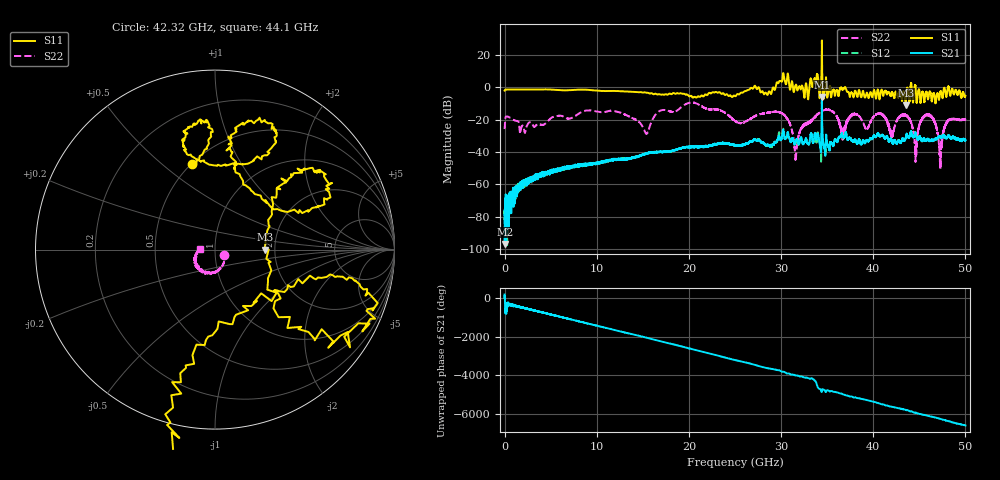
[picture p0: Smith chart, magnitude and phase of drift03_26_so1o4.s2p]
!Created with skrf (http://scikit-rf.org).
# Hz S RI R 50.0
!freq ReS11 ImS11 ReS21 ImS21 ReS12 ImS12 ReS22 ImS22
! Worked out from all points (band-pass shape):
!   10000 points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, 5.3 MHz to 50 GHz, reference 50 ohm
!   highest |S21| = -5.98 dB at 34.43 GHz (marker M1); lowest = -96.9 dB at 90.3 MHz (marker M2)
!   |S21| within 3 dB of the highest: 34.42772 GHz to 34.43446 GHz (6.74 MHz wide, 0.0196 % of centre)
!   lowest |S11| = -11.1 dB at 43.52 GHz (marker M3), VSWR 1.77, Z = 88.4 - j0.188 ohm
!   |S11| at or under -10 dB: 43.49858 GHz to 43.5348 GHz (36.21 MHz wide, 0.0832 % of centre); 43.53567 GHz to 43.54182 GHz (6.148 MHz wide, 0.0141 % of centre)
!   |S22| runs from -50.7 to -9.4 dB; largest |S21 - S12| = 0.15
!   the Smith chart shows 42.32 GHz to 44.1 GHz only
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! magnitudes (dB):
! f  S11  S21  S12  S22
! 5.3 MHz  -2.1  -79.2  -79.4  -25.9
! 90.3 MHz  -1.5  -96.9  -88.6  -18.9
! 2.15 GHz  -1.3  -57.7  -60.1  -27.3
! 8.34 GHz  -1.5  -48.5  -48.1  -15.3
! 15.39 GHz  -3.5  -41.2  -41.0  -28.7
! 16.67 GHz  -4.4  -40.2  -40.1  -15.3
! 20.45 GHz  -6.5  -36.8  -36.7  -9.5
! 25.01 GHz  -5.5  -36.0  -35.8  -20.9
! 29.93 GHz  4.0  -32.5  -31.7  -15.7
! 31.6 GHz  1.5  -33.6  -34.0  -44.4
! 33.34 GHz  2.5  -30.0  -30.6  -20.4
! 34.43 GHz  28.9  -6.0  -8.2  -14.6
! 36.68 GHz  -1.4  -29.6  -29.6  -32.5
! 37.95 GHz  -3.9  -32.9  -32.6  -16.5
! 41.67 GHz  -3.1  -33.4  -33.3  -23.3
! 43.52 GHz  -11.1  -31.2  -31.3  -17.4
! 44.6 GHz  -0.7  -28.9  -29.0  -40.9
! 45.28 GHz  -3.6  -32.9  -32.9  -19.7
! 46.25 GHz  -4.4  -32.8  -33.0  -17.7
! 47.29 GHz  -3.1  -30.8  -30.8  -50.7
! 48.14 GHz  0.5  -29.9  -30.0  -20.7
! 50 GHz  -5.3  -32.7  -32.5  -19.7
